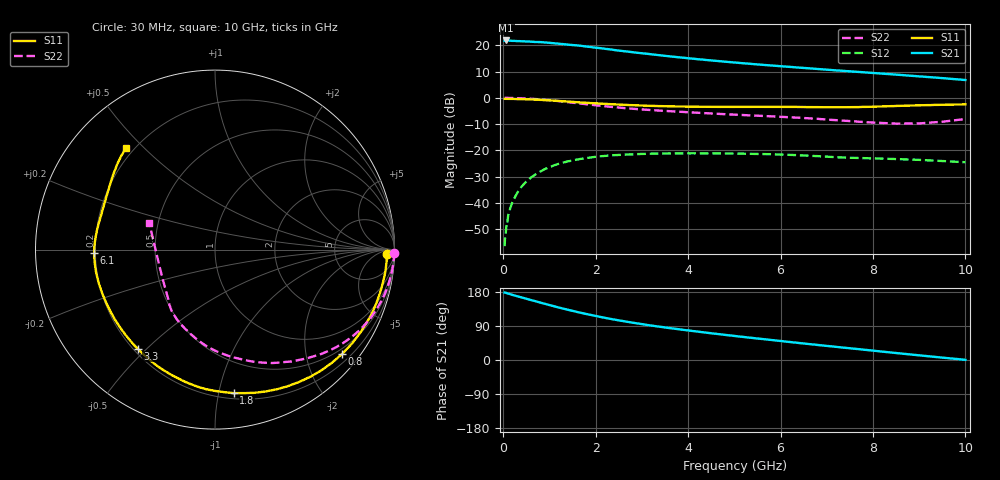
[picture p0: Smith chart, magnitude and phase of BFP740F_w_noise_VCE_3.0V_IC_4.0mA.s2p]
! Infineon Technologies  Discrete & RF Semiconductors
! BFP740F
! VCE =  3.0 V,  IC =  4.0 mA
! Common Emitter S-Parameters:  Oct 2012
# GHz  S  MA  R  50
!  f  S11  S21  S12  S22
! GHz  MAG  ANG  MAG  ANG  MAG  ANG  MAG  ANG
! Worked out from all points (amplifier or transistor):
!   99 points, 30 MHz to 10 GHz, reference 50 ohm
!   highest |S21| = 21.9 dB at 60 MHz (marker M1)
!   |S21| within 3 dB of that: start of sweep to 2.129 GHz
!   unconditionally stable (mu >= 1): 7.921 GHz to end of sweep
!   at 350 MHz: K = 0.04, MSG = 28.3 dB, |S12| = -34.9 dB
!   at 3.5 GHz: K = 0.30, MSG = 18.6 dB, |S12| = -21.2 dB
!   at 10 GHz: K = 1.27, MAG = 12.5 dB, |S12| = -24.5 dB
!   lowest NFmin = 0.36 dB at 450 MHz
!   S11 on the Smith chart (normalised r, x): 30 MHz: 34, -22; 800 MHz: 0.38, -2.75; 1.8 GHz: 0.24, -1.11; 3.3 GHz: 0.22, -0.47; 6.1 GHz: 0.20, -0.01; 10 GHz: 0.17, +0.44
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0.03  0.9593 -1.5  12.3 178.0  0.0015 78.2  0.9985 -1.0
0.06  0.9583 -3.1  12.4 177.2  0.003 87.3  0.9976 -2.0
0.12  0.9574 -6.1  12.33 174.8  0.0065 85.2  0.9965 -4.1
0.3  0.9505 -14.9  12.03 168.4  0.0154 81.2  0.9878 -10.1
0.45  0.943 -22.3  11.92 163.3  0.023 76.0  0.9769 -15.0
0.8  0.9165 -39.3  11.55 151.6  0.0395 65.5  0.9354 -26.3
1  0.8967 -48.6  11.17 145.0  0.048 59.6  0.9035 -32.7
1.2  0.8737 -57.6  10.75 138.6  0.0555 53.9  0.8673 -38.8
1.6  0.8266 -75.0  9.99 126.7  0.067 43.7  0.7918 -50.0
1.7  0.8144 -79.0  9.762 123.9  0.0694 41.3  0.7734 -52.6
1.8  0.8065 -82.6  9.491 121.4  0.0715 39.0  0.7568 -55.4
2.1  0.7787 -93.9  8.849 113.6  0.0772 32.6  0.708 -63.2
2.5  0.7452 -106.4  7.965 104.6  0.0819 25.3  0.6546 -72.0
2.9  0.7203 -117.8  7.235 96.6  0.0849 19.2  0.6113 -79.8
3.3  0.7005 -128.0  6.62 89.3  0.0868 13.9  0.5787 -86.6
3.4  0.6974 -130.2  6.457 87.6  0.0869 12.6  0.571 -88.2
4.1  0.6801 -145.0  5.582 76.5  0.0881 5.0  0.5272 -97.6
5.1  0.6742 -163.4  4.642 62.1  0.0867 -4.1  0.4741 -109.8
6.1  0.6736 -178.5  3.952 48.8  0.0827 -12.1  0.4314 -121.7
6.7  0.6668 172.0  3.603 41.1  0.0784 -16.1  0.4031 -128.4
8.5  0.7011 144.6  2.775 18.4  0.0684 -21.0  0.3238 -161.1
10  0.7524 131.1  2.188 0.5  0.0595 -24.4  0.3957 157.8
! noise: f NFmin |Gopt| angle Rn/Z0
0.45  0.36  0.43  8  0.21
0.9  0.42  0.43  14  0.18
1.5  0.5  0.42  25  0.15
1.9  0.56  0.41  34  0.14
2.4  0.63  0.38  43  0.14
3.5  0.79  0.35  66  0.13
5.5  1.07  0.25  111  0.22
10  1.64  0.44  -130  0.08
